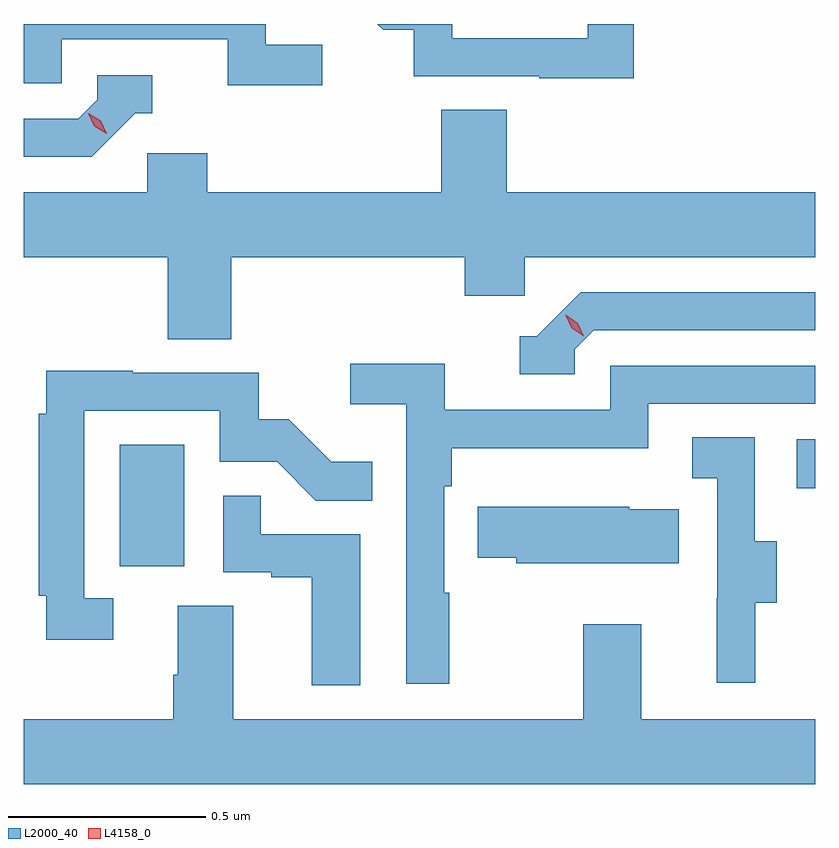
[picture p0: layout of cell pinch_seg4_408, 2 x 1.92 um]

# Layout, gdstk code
import gdstk
lib = gdstk.Library(unit=1e-6, precision=1e-09)
def R(c, l, rs):  # rectangles x0, y0, x1, y1
    for r in rs: c.add(gdstk.rectangle(r[:2], r[2:], *l))
def P(c, l, *ps):  # polygons
    for p in ps: c.add(gdstk.Polygon(p, *l))
L2000_40 = (2000, 40)
L4158_0 = (4158, 0)

pinch_seg4_408 = lib.new_cell('pinch_seg4_408')
R(pinch_seg4_408, L2000_40, [(968.738,780.054,968.902,780.361), (970.449,780.251,970.496,780.375)])
P(pinch_seg4_408, L2000_40, [(970.037,781.425),(969.921,781.425),(969.921,781.389),(969.579,781.389),(969.579,781.425),(969.389,781.425),(969.404,781.41),(969.481,781.41),(969.481,781.293),(969.799,781.293),(969.799,781.288),(970.037,781.288)],
  [(969.25,781.372),(969.108,781.372),(969.108,781.425),(968.496,781.425),(968.496,781.275),(968.592,781.275),(968.592,781.386),(969.011,781.386),(969.011,781.27),(969.25,781.27)],
  [(968.778,781.2),(968.821,781.2),(968.821,781.296),(968.682,781.296),(968.682,781.233),(968.634,781.185),(968.496,781.185),(968.496,781.089),(968.667,781.089)],
  [(969.02,780.836),(969.611,780.836),(969.611,780.738),(969.762,780.738),(969.762,780.836),(970.496,780.836),(970.496,781),(969.716,781),(969.716,781.208),(969.551,781.208),(969.551,781),(968.96,781),(968.96,781.098),(968.808,781.098),(968.808,781),(968.496,781),(968.496,780.836),(968.86,780.836),(968.86,780.628),(969.02,780.628)],
  [(969.888,780.603),(969.936,780.651),(970.496,780.651),(970.496,780.747),(969.903,780.747),(969.792,780.636),(969.749,780.636),(969.749,780.54),(969.888,780.54)],
  [(969.571,779.987),(969.558,779.987),(969.558,780.257),(969.578,780.257),(969.578,780.353),(970.074,780.353),(970.074,780.465),(970.496,780.465),(970.496,780.561),(969.978,780.561),(969.978,780.45),(969.56,780.45),(969.56,780.566),(969.321,780.566),(969.321,780.464),(969.462,780.464),(969.462,779.757),(969.571,779.757)],
  [(968.722,779.973),(968.649,779.973),(968.649,780.447),(968.991,780.447),(968.991,780.318),(969.136,780.318),(969.234,780.22),(969.377,780.22),(969.377,780.319),(969.273,780.319),(969.166,780.426),(969.09,780.426),(969.09,780.543),(968.771,780.543),(968.771,780.548),(968.552,780.548),(968.552,780.44),(968.533,780.44),(968.533,779.98),(968.552,779.98),(968.552,779.868),(968.722,779.868)],
  [(970.345,779.962),(970.399,779.962),(970.399,780.117),(970.344,780.117),(970.344,780.38),(970.185,780.38),(970.185,780.277),(970.248,780.277),(970.248,779.973),(970.247,779.973),(970.247,779.76),(970.345,779.76)],
  [(969.346,780.135),(969.095,780.135),(969.095,780.233),(969,780.233),(969,780.039),(969.121,780.039),(969.121,780.027),(969.224,780.027),(969.224,779.753),(969.346,779.753)],
  [(970.151,780.199),(970.026,780.199),(970.026,780.205),(969.643,780.205),(969.643,780.076),(969.741,780.076),(969.741,780.062),(970.151,780.062)],
  [(970.496,779.668),(970.057,779.668),(970.057,779.908),(969.91,779.908),(969.91,779.668),(969.025,779.668),(969.025,779.954),(968.885,779.954),(968.885,779.78),(968.873,779.78),(968.873,779.668),(968.496,779.668),(968.496,779.504),(970.496,779.504)])
P(pinch_seg4_408, L4158_0, [(969.911,780.636),(969.881,780.656),(969.866,780.689),(969.866,780.69),(969.866,780.69),(969.896,780.669),(969.911,780.636),(969.911,780.636)],
  [(968.705,781.147),(968.674,781.167),(968.659,781.2),(968.659,781.2),(968.659,781.2),(968.69,781.18),(968.705,781.147),(968.705,781.147)])

lib.write_gds('pinch_seg4_408.gds')
